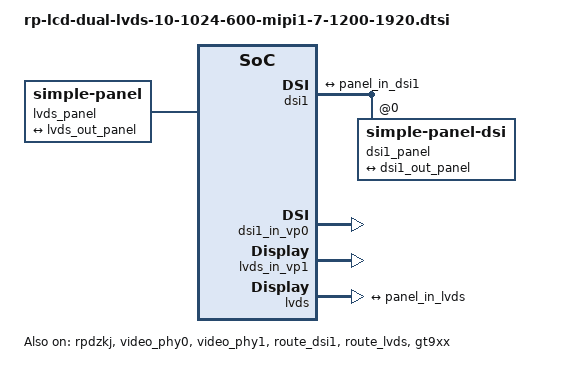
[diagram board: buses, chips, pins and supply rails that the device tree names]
#include <dt-bindings/display/media-bus-format.h>

#define RP_DUAL_LCD

&rpdzkj {
        compatible = "rp_config";
        user_version = "rpdzkj";
        system_rotate = "0";
				csi_camera_rotate = "0"; //all csi camera rotation //0 90 180 270 //no effect
				csi_camera_facing = "0"; //0:auto  1:all front   2:all back //no effect
				usb_camera_rotate = "0"; //all usb camera rotation //0 90 180 270 
				usb_camera_facing = "0"; //0:auto  1:all front   2:all back
        lcd_density = "180";
        language = "zh-CN";   //zh-CN //en-US
        time_zone = "Asia/Shanghai"; //Asia/Shanghai = +8   //Europe/London  = +1       //Africa/Casablanca     = +0;
        not_navigation_bar = "false";
        not_status_bar = "false";
        default_launcher = "true";
        has_root = "true";
        usb_not_permission = "true";
        gps_use = "false";
        gps_serial_port = "/dev/ttyS4";
        primary_device = "DSI";
        extend_device = "HDMI-A";
        extend_rotate = "0";
        rotation_efull = "false";
        home_apk = "null";
        status = "okay";
};


&lvds_panel {
	status = "okay";
	compatible = "simple-panel";
	enable-delay-ms = <20>;
	prepare-delay-ms = <20>;
	unprepare-delay-ms = <20>;
	disable-delay-ms = <20>;
	bus-format = <MEDIA_BUS_FMT_RGB888_1X7X4_JEIDA>;
	width-mm = <217>;
	height-mm = <136>;
	
		/**
		 * power-supply = <>;
		 * reset-gpios = <>;
		 *
		 * lcd reset pin and power supply
		 * please refer to ***-lcd-gpio.dtsi
		 * that included in main dts.
		 */
		 
	display-timings {
		native-mode = <&timing0>;

		timing0: timing0 {
			clock-frequency = <45000000>;
			hactive = <1024>;
			vactive = <600>;
			hback-porch = <160>;
			hfront-porch = <160>;
			vback-porch = <23>;
			vfront-porch = <12>;
			hsync-len = <20>;
			vsync-len = <3>;
			hsync-active = <0>;
			vsync-active = <0>;
			de-active = <0>;
			pixelclk-active = <0>;
		};
	};

	ports {
		#address-cells = <1>;
		#size-cells = <0>;

		port@0 {
			reg = <0>;
			dual-lvds-even-pixels;
			panel_in_lvds: endpoint {
				remote-endpoint = <&lvds_out_panel>;
			};
		};
	};
};



&dsi1 {
	status = "okay";
	//rockchip,lane-rate = <480>;
	dsi1_panel: panel@0 {
		status = "okay";
		compatible = "simple-panel-dsi";
		reg = <0>;
		reset-delay-ms = <60>;
		init-delay-ms = <60>;
		enable-delay-ms = <60>;
		prepare-delay-ms = <60>;
		unprepare-delay-ms = <60>;
		disable-delay-ms = <60>;
		dsi,flags = <(MIPI_DSI_MODE_VIDEO | MIPI_DSI_MODE_VIDEO_BURST |
			MIPI_DSI_MODE_LPM | MIPI_DSI_MODE_EOT_PACKET)>;
		dsi,format = <MIPI_DSI_FMT_RGB888>;
		dsi,lanes  = <4>;
		
		/**
		 * power-supply = <>;
		 * reset-gpios = <>;
		 *
		 * lcd reset pin and power supply
		 * please refer to ***-lcd-gpio.dtsi
		 * that included in main dts.
		 */
		
		panel-init-sequence = [
			39 00 03 b7 50 00
			39 00 03 b8 00 00
			39 10 03 b9 00 00
			39 10 03 ba 14 42
			39 10 03 bb 03 00
			39 60 03 b9 01 00
			39 10 03 de 03 00
			39 60 03 c9 02 23
			
			39 00 02 b0 00
			39 00 06 14 08 b0 00 22 00
			39 30 02 b4 0c
			39 40 03 b6 3a d3
			39 50 02 51 e6
			39 30 02 53 2c
			
			05 78 01 29
			05 78 01 11
			
			
			39 00 03 b7 50 00
			39 00 03 b8 00 00
			39 10 03 b9 00 00
			39 10 03 ba 8c 83
			39 10 03 bb 03 00
			39 60 03 b9 01 00
			39 10 03 c9 02 23
			39 60 03 ca 01 23
			39 10 03 cb 10 05
			39 10 03 cc 05 10
			39 10 03 d0 00 00
			
			
			39 10 03 b6 03 00
			39 10 03 de 03 00
			39 10 03 d6 05 00
			39 60 03 b7 4b 02
			
			05 00 01 2c

		];
		
		panel-exit-sequence = [
			05 00 01 28
			05 78 01 10
		];

		disp_timings1: display-timings {
			native-mode = <&dsi1_timing0>;
			dsi1_timing0: timing0 {
                                clock-frequency = <140000000>;
                                hactive = <1200>;
                                vactive = <1920>;
								hback-porch = <30>;
								hfront-porch = <60>;
                                vback-porch = <16>;
                                vfront-porch = <16>;
                                hsync-len = <4>;
                                vsync-len = <2>;
                                hsync-active = <0>;
                                vsync-active = <0>;
                                de-active = <0>;
                                pixelclk-active = <0>;
			};
		};

		ports {
			#address-cells = <1>;
			#size-cells = <0>;

			port@0 {
				reg = <0>;
				panel_in_dsi1: endpoint {
					remote-endpoint = <&dsi1_out_panel>;
				};
			};
		};
	};

	ports {
		#address-cells = <1>;
		#size-cells = <0>;

		port@1 {
			reg = <1>;
			dsi1_out_panel: endpoint {
				remote-endpoint = <&panel_in_dsi1>;
			};
		};
	};
};


&dsi0_in_vp0 {
	status = "disabled";
};

&dsi0_in_vp1 {
	status = "disabled";
};

&dsi1_in_vp0 {
	status = "okay";
};

&dsi1_in_vp1 {
	status = "disabled";
};

&lvds_in_vp1 {
	status = "okay";
};

&lvds_in_vp2 {
	status = "disabled";
};


&video_phy0 {
	status = "okay";
};

&video_phy1 {
	status = "okay";
};




&route_dsi1 {
	status = "okay";
	connect = <&vp0_out_dsi1>;
};

&route_lvds {
	status = "okay";
	connect = <&vp1_out_lvds>;
};




&lvds {
	status = "okay";

	ports {
		port@1 {
			reg = <1>;

			lvds_out_panel: endpoint {
				remote-endpoint = <&panel_in_lvds>;
			};
		};
	};
};



&gt9xx {
        status = "okay";

        compatible = "goodix,gt9xx";
        reg = <0x5d>;
        gtp_resolution_x = <1024>;
        gtp_resolution_y = <600>;
        gtp_int_tarigger = <1>;
        gtp_change_x2y = <0>;
        gtp_overturn_x = <0>;
        gtp_overturn_y = <0>;
        gtp_send_cfg = <1>;
        gtp_touch_wakeup = <1>;

		/**
		 * goodix_rst_gpio = <>;
		 * goodix_irq_gpio = <>;
		 *
		 * touch panel interrupt and reset pin
		 * please refer to ***-lcd-gpio.dtsi
		 * that included in main dts.
		 */

        goodix,cfg-group0 = [
            46 00 04 58 02 0A 3D 00 01 08
            28 05 50 32 03 05 00 00 00 00
            00 00 00 18 1A 1E 14 8D 2D 88
            17 15 31 0D 00 00 01 9B 03 1D
            00 00 00 00 00 00 00 00 00 00
            00 1E 5A 94 C5 02 08 00 00 00
            61 21 00 57 29 00 4E 34 00 48
            41 00 43 51 00 43 00 00 00 00
            00 00 00 00 00 00 00 00 00 00
            00 00 00 00 00 00 00 00 00 00
            00 00 00 00 00 00 00 00 00 00
            00 00 00 01 04 05 06 07 08 09
            0C 0D 0E 0F 10 11 14 15 FF FF
            FF FF 00 00 00 00 00 00 00 00
            00 00 00 02 04 06 07 08 0A 0C
            0F 10 11 12 13 19 1B 1C 1E 1F
            20 21 22 23 24 25 26 27 FF FF
            FF FF FF FF 00 00 00 00 00 00
            00 00 00 00 FD 01];
        goodix,cfg-group3 = [
            46 00 04 58 02 0A 3D 00 01 08
            28 05 50 32 03 05 00 00 00 00
            00 00 00 18 1A 1E 14 8D 2D 88
            17 15 31 0D 00 00 01 9B 03 1D
            00 00 00 00 00 00 00 00 00 00
            00 1E 5A 94 C5 02 08 00 00 00
            61 21 00 57 29 00 4E 34 00 48
            41 00 43 51 00 43 00 00 00 00
            00 00 00 00 00 00 00 00 00 00
            00 00 00 00 00 00 00 00 00 00
            00 00 00 00 00 00 00 00 00 00
            00 00 00 01 04 05 06 07 08 09
            0C 0D 0E 0F 10 11 14 15 FF FF
            FF FF 00 00 00 00 00 00 00 00
            00 00 00 02 04 06 07 08 0A 0C
            0F 10 11 12 13 19 1B 1C 1E 1F
            20 21 22 23 24 25 26 27 FF FF
            FF FF FF FF 00 00 00 00 00 00
            00 00 00 00 FD 01];

};




